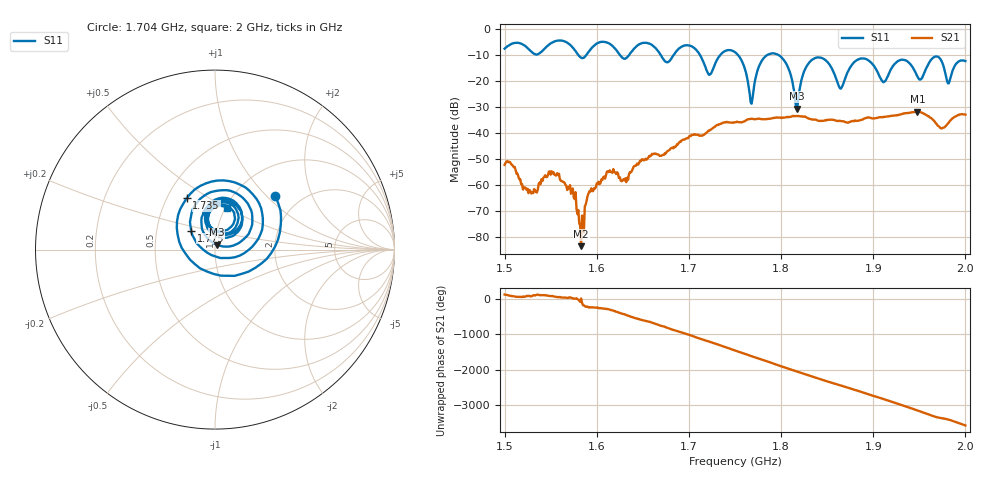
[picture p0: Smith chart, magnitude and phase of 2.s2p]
! NanoVNA-App by SYSJOINT et al v1.1.209 (+OD18)
! Date: 2026-01-21 14:48:48
! Start: 1,5GHz Stop: 2GHz Points: 501
! S-Parameter data: F S11 S21 S12 S22
# Hz S RI R 50
!  Frequency  S11_Real  S11_Imag  S21_Real  S21_Imag  S12_Real  S12_Imag  S22_Real  S22_Imag
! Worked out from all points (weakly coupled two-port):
!   501 points, 1.5 GHz to 2 GHz, reference 50 ohm
!   highest |S21| = -31.83 dB at 1.948 GHz (marker M1); lowest = -83.5 dB at 1.583 GHz (marker M2)
!   lowest |S11| = -30.6 dB at 1.817 GHz (marker M3), VSWR 1.06, Z = 50.9 + j2.83 ohm
!   |S11| at or under -10 dB: 1.712 GHz to 1.734 GHz (22.4 MHz wide, 1.3 % of centre); 1.753 GHz to 1.785 GHz (32.36 MHz wide, 1.83 % of centre); 1.797 GHz to end of sweep (the widest 3 of 6)
!   S12 and S22 are empty: the file has one direction only
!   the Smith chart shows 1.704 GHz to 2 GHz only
!   S11 on the Smith chart (normalised r, x): 1.704 GHz: 1.51, +1.12; 1.735 GHz: 0.63, +0.41; 1.775 GHz: 0.75, +0.16; 2 GHz: 1.02, +0.50
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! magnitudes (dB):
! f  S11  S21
! 1.5 GHz  -7.6  -52.3
! 1.528 GHz  -8.5  -62.4
! 1.557 GHz  -4.6  -55.5
! 1.583 GHz  -11.1  -83.5
! 1.584 GHz  -11.3  -71.8
! 1.592 GHz  -8.5  -62.4
! 1.612 GHz  -5.4  -54.7
! 1.667 GHz  -8.8  -48.3
! 1.704 GHz  -7.0  -40.8
! 1.722 GHz  -17.7  -39.2
! 1.735 GHz  -9.7  -36.4
! 1.75 GHz  -9.0  -35.9
! 1.767 GHz  -28.3  -34.6
! 1.775 GHz  -15.4  -34.5
! 1.8 GHz  -10.8  -34.3
! 1.817 GHz  -30.6  -33.5
! 1.834 GHz  -11.8  -34.9
! 1.864 GHz  -22.9  -35.4
! 1.885 GHz  -11.6  -35.2
! 1.917 GHz  -17.2  -33.7
! 1.948 GHz  -18.3  -31.8
! 2 GHz  -12.4  -33.0
